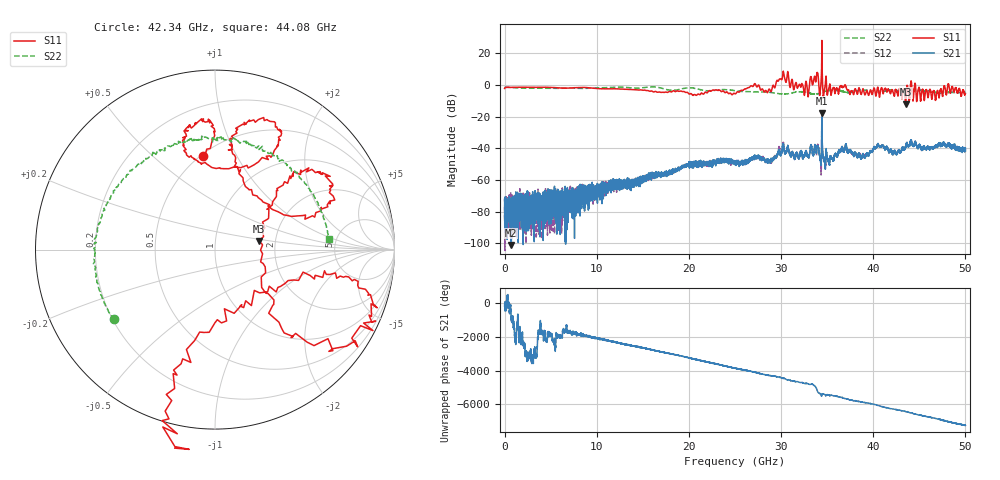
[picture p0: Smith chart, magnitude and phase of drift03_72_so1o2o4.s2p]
!Created with skrf (http://scikit-rf.org).
# Hz S RI R 50.0
!freq ReS11 ImS11 ReS21 ImS21 ReS12 ImS12 ReS22 ImS22
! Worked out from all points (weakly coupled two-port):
!   10000 points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, 5.3 MHz to 50 GHz, reference 50 ohm
!   highest |S21| = -17.71 dB at 34.43 GHz (marker M1); lowest = -100.9 dB at 730.3 MHz (marker M2)
!   lowest |S11| = -12.0 dB at 43.51 GHz (marker M3), VSWR 1.67, Z = 82.1 + j8.51 ohm
!   |S11| at or under -10 dB: 43.4835 GHz to 43.55251 GHz (69.01 MHz wide, 0.159 % of centre); 43.89995 GHz to 43.90009 GHz (139.8 kHz wide, 0.000318 % of centre); 44.31483 GHz to 44.31519 GHz (354.1 kHz wide, 0.000799 % of centre) (the widest 3 of 5)
!   |S22| runs from -5.8 to -1.1 dB; largest |S21 - S12| = 0.025
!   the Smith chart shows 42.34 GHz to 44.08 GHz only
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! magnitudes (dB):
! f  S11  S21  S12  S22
! 5.3 MHz  -2.1  -73.1  -77.0  -1.3
! 730.3 MHz  -1.4  -100.9  -78.0  -1.5
! 4.895 GHz  -1.4  -72.0  -77.0  -2.1
! 8.34 GHz  -1.5  -67.8  -68.0  -2.1
! 16.67 GHz  -4.4  -56.7  -56.3  -1.5
! 20 GHz  -5.5  -50.6  -49.6  -1.7
! 25.01 GHz  -5.5  -50.1  -49.1  -3.5
! 27.02 GHz  -0.3  -46.7  -46.3  -4.3
! 28.72 GHz  -2.5  -48.0  -48.5  -4.5
! 30.14 GHz  4.5  -40.2  -40.1  -5.6
! 32.74 GHz  2.0  -41.7  -42.1  -4.6
! 33.34 GHz  2.7  -39.7  -40.3  -5.6
! 33.82 GHz  4.0  -42.3  -42.0  -5.6
! 34.43 GHz  28.2  -17.7  -19.0  -4.6
! 35.28 GHz  0.3  -49.8  -47.2  -3.3
! 36.84 GHz  -0.8  -41.8  -41.7  -4.2
! 38.86 GHz  -2.4  -43.7  -43.6  -3.2
! 40.6 GHz  -4.4  -38.2  -38.3  -4.0
! 41.67 GHz  -2.9  -42.3  -42.3  -3.3
! 43.51 GHz  -12.0  -38.8  -38.9  -4.0
! 48.33 GHz  -4.5  -37.8  -38.5  -4.6
! 50 GHz  -5.3  -39.7  -40.9  -4.5
